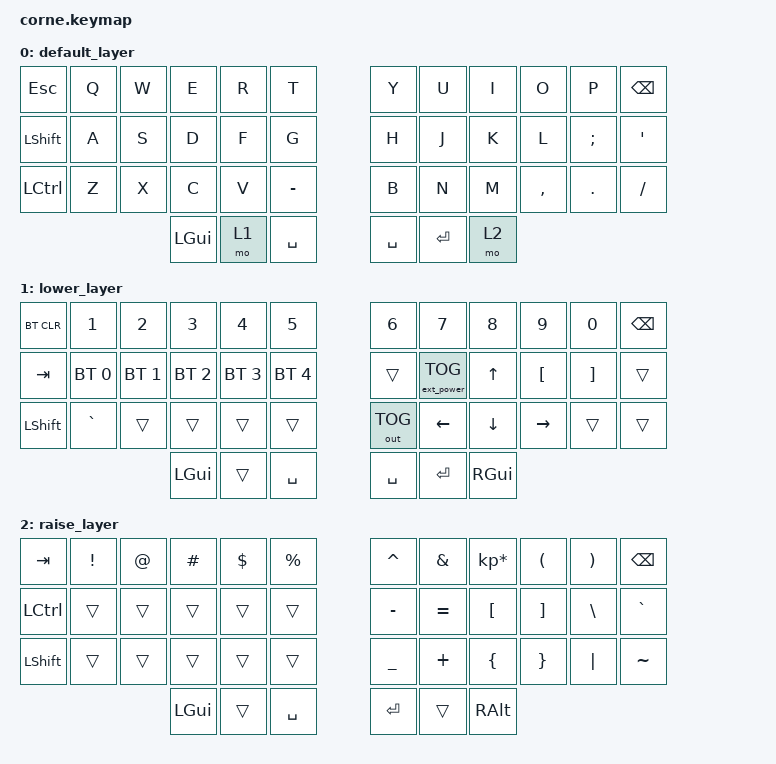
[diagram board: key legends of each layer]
#include <behaviors.dtsi>
#include <dt-bindings/zmk/keys.h>
#include <dt-bindings/zmk/bt.h>
#include <dt-bindings/zmk/outputs.h>

        keymap {
                compatible = "zmk,keymap";
                default_layer {
// -----------------------------------------------------------------------------------------
// |  ESC |  Q  |  W  |  E  |  R  |  T  |   |  Y  |  U   |  I  |  O  |  P  | BKSP |
// | SHFT |  A  |  S  |  D  |  F  |  G  |   |  H  |  J   |  K  |  L  |  ;  |  '   |
// | CTRL |  Z  |  X  |  C  |  V  |  -  |   |  B  |  N  |  M   |  ,  |  .  |  /  |
//                    | GUI | LWR | SPC |   | SPC |  ENT | RSE |
                        bindings = <
   &kp ESC   &kp Q &kp W &kp E &kp R &kp T       &kp Y &kp U  &kp I      &kp O    &kp P    &kp BSPC
   &kp LSHFT &kp A &kp S &kp D &kp F &kp G       &kp H &kp J  &kp K      &kp L    &kp SEMI &kp SQT
   &kp LCTRL &kp Z &kp X &kp C &kp V &kp MINUS   &kp B &kp N  &kp M      &kp COMMA &kp DOT &kp FSLH 
                  &kp LGUI &mo 1 &kp SPACE       &kp SPACE    &kp ENTER  &mo 2
                        >;
                };
                lower_layer {
// -----------------------------------------------------------------------------------------
// |BLCLR |  1  |  2  |  3  |  4  |  5  |   |  6  |  7  |  8  |  9  |  0  | BKSP |
// | TAB  | BT1 | BT2 | BT3 | BT4 | BT5 |   |EP_OFF|EP_ON| UP  |  {  |  }  |      | 
// | SHFT |     |     |     |     |     |   | BLE | LFT | DOWN| RGT |     |      |
//                    | GUI |     | SPC |   | SPC | ENT | RGUI|
                        bindings = <
   &bt BT_CLR &kp N1       &kp N2       &kp N3       &kp N4       &kp N5            &kp N6        &kp N7     &kp N8     &kp N9    &kp N0    &kp BSPC
   &kp TAB    &bt BT_SEL 0 &bt BT_SEL 1 &bt BT_SEL 2 &bt BT_SEL 3 &bt BT_SEL 4      &trans   &ext_power EP_TOG  &kp UP     &kp LBKT  &kp RBKT  &trans 
   &kp LSHFT  &kp GRAVE       &trans       &trans       &trans       &trans         &out OUT_TOG  &kp LEFT   &kp DOWN   &kp RIGHT &trans    &trans 
                          	        &kp LGUI     &trans       &kp SPACE         &kp SPACE     &kp RET    &kp RGUI
                        >;
                };
                raise_layer {
// -----------------------------------------------------------------------------------------
// |  TAB |  !  |  @  |  #  |  $  |  %  |   |  ^  |  &  |  *  |  (  |  )  | BKSP |
// | CTRL |     |     |     |     |     |   |  -  |  =  |  [  |  ]  |  \  |  `   |
// | SHFT |     |     |     |     |     |   |  _  |  +  |  {  |  }  | "|" |  ~   |
//                    | GUI |     | SPC |   | ENT |     | ALT |
                        bindings = <
   &kp  TAB  &kp EXCL &kp AT &kp HASH &kp DLLR &kp PRCNT   &kp CARET &kp AMPS  &kp KP_MULTIPLY &kp LPAR &kp RPAR &kp BSPC
   &kp LCTRL &trans   &trans &trans   &trans   &trans      &kp MINUS &kp EQUAL &kp LBKT        &kp RBKT &kp BSLH &kp GRAVE
   &kp LSHFT &trans   &trans &trans   &trans   &trans      &kp UNDER &kp PLUS  &kp LBRC        &kp RBRC &kp PIPE &kp TILDE
                    	     &kp LGUI &trans   &kp SPACE   &kp RET   &trans    &kp RALT
                        >;
        };
};
